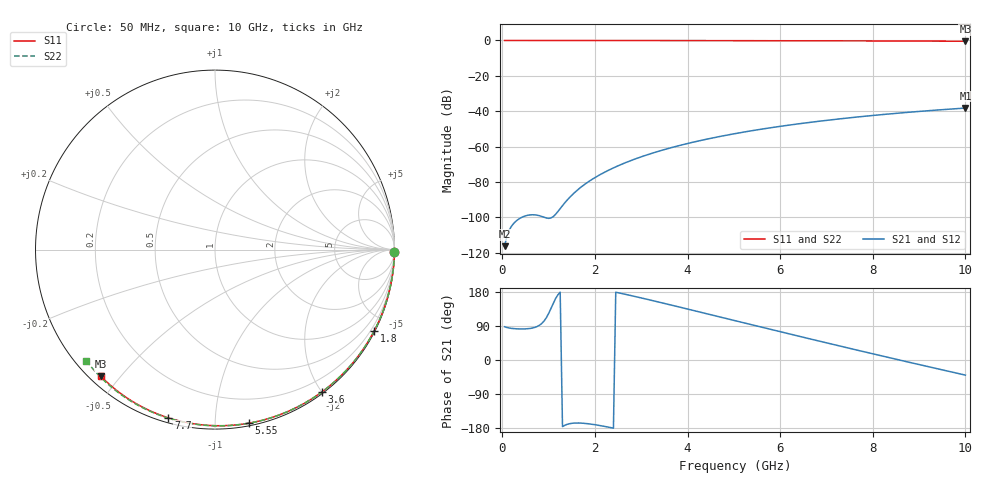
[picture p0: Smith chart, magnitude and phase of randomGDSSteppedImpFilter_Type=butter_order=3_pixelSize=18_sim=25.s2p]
! freq	dB(S11)	phase(S11)	dB(S12)	phase(S12)
!  dB(S21)	phase(S21)	dB(S22)	phase(S22)
!S-par simulation data
#  GHz  S  DB  R 50
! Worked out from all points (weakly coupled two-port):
!   200 points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, 50 MHz to 10 GHz, reference 50 ohm
!   highest |S21| = -38.22 dB at 10 GHz (marker M1); lowest = -116.3 dB at 50 MHz (marker M2)
!   lowest |S11| = -0.4 dB at 10 GHz (marker M3), VSWR 38.88, Z = 1.54 - j22.3 ohm
!   |S11| at or under -10 dB: nowhere
!   |S22| runs from -0.5 to 0.0 dB; largest |S21 - S12| = 0
!   S11 on the Smith chart (normalised r, x): 50 MHz: open; 1.8 GHz: 0.04, -4.15; 3.6 GHz: 0.02, -2.01; 5.55 GHz: 0.02, -1.21; 7.7 GHz: 0.02, -0.76; 10 GHz: 0.03, -0.45
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0.05  -0.00 -0.8  -116.33 87.7  -116.33 87.7  -0.00 -0.8
0.45  -0.01 -6.9  -99.66 81.9  -99.66 81.9  -0.01 -7.2
0.9  -0.02 -13.7  -99.94 102.5  -99.94 102.5  -0.02 -14.4
1.75  -0.03 -26.4  -81.93 -166.9  -81.93 -166.9  -0.04 -27.8
1.8  -0.03 -27.1  -80.98 -167.5  -80.98 -167.5  -0.04 -28.5
1.85  -0.04 -27.8  -80.07 -168.2  -80.07 -168.2  -0.04 -29.3
2.15  -0.04 -32.2  -75.32 -173.9  -75.32 -173.9  -0.04 -34.0
2.35  -0.05 -35.1  -72.67 -178.6  -72.67 -178.6  -0.05 -37.0
2.55  -0.05 -38.0  -70.31 176.3  -70.31 176.3  -0.05 -40.1
2.95  -0.06 -43.8  -66.25 165.3  -66.25 165.3  -0.06 -46.1
3.4  -0.07 -50.2  -62.45 152.3  -62.45 152.3  -0.07 -52.8
3.6  -0.07 -52.9  -60.96 146.4  -60.96 146.4  -0.08 -55.7
3.9  -0.08 -57.1  -58.91 137.5  -58.91 137.5  -0.08 -60.1
4.3  -0.09 -62.6  -56.46 125.6  -56.46 125.6  -0.09 -65.8
5.05  -0.11 -72.6  -52.56 103.1  -52.56 103.1  -0.12 -76.3
5.55  -0.13 -79.0  -50.35 88.1  -50.35 88.1  -0.14 -83.1
6.1  -0.15 -86.0  -48.20 71.8  -48.20 71.8  -0.16 -90.5
6.7  -0.18 -93.5  -46.13 54.1  -46.13 54.1  -0.19 -98.3
7.7  -0.24 -105.5  -43.19 25.0  -43.19 25.0  -0.25 -110.9
8.35  -0.29 -113.1  -41.56 6.3  -41.56 6.3  -0.30 -119.0
9.2  -0.36 -122.9  -39.71 -17.7  -39.71 -17.7  -0.38 -129.4
10  -0.45 -131.9  -38.22 -39.9  -38.22 -39.9  -0.47 -139.1
